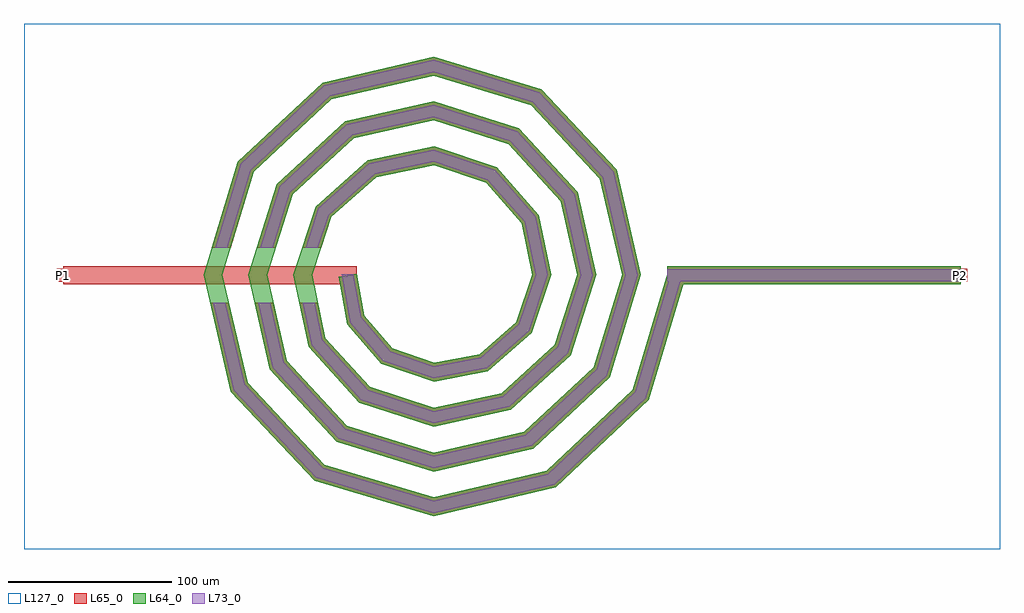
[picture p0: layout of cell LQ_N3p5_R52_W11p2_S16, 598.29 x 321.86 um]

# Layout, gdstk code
import gdstk
lib = gdstk.Library(unit=1e-6, precision=1e-09)
def R(c, l, rs):  # rectangles x0, y0, x1, y1
    for r in rs: c.add(gdstk.rectangle(r[:2], r[2:], *l))
def P(c, l, *ps):  # polygons
    for p in ps: c.add(gdstk.Polygon(p, *l))
L64_0 = (64, 0)
L65_0 = (65, 0)
L73_0 = (73, 0)
L127_0 = (127, 0)

lq_n3p5_r52_w11p2_s16 = lib.new_cell('LQ_N3p5_R52_W11p2_S16')
R(lq_n3p5_r52_w11p2_s16, L64_0, [(143.292,-5.6,323.292,5.6)])
P(lq_n3p5_r52_w11p2_s16, L64_0, [(-42.303,-24.945),(-25.325,-44.73),(0.416,-53.691),(28.339,-48.282),(50.661,-28.803),(60.567,0.373),(54.257,31.742),(32.273,56.597),(0.338,67.443),(-35.152,60.229),(-62.537,35.738),(-74.32,0.309),(-66.198,-38.567),(-39.199,-68.48),(0.285,-81.197),(41.985,-72.165),(74.425,-42.657),(88.075,0.264),(78.131,45.407),(46.112,80.371),(0.246,94.952),(-48.831,84.096),(-86.319,49.565),(-101.83,0.23),(-90.06,-52.256),(-53.016,-92.268),(0.217,-108.707),(55.684,-96.023),(98.218,-56.466),(115.585,0.204),(101.985,59.113),(59.915,104.169),(0.193,122.463),(-62.542,107.947),(-110.12,63.362),(-129.341,0.183),(-113.908,-65.973),(-66.809,-116.072),(0.175,-136.219),(69.405,-119.869),(122.025,-70.256),(143.527,1.605),(154.257,-1.605),(131.893,-76.344),(74.902,-130.078),(0.175,-147.809),(-72.912,-125.932),(-124.126,-71.456),(-140.931,0.183),(-119.971,69.481),(-68.008,118.174),(0.193,134.053),(66.05,114.009),(112.222,64.56),(127.174,0.204),(108.046,-62.621),(61.11,-106.271),(0.217,-120.295),(-59.193,-102.083),(-100.32,-57.66),(-113.417,0.23),(-96.119,55.766),(-54.207,94.371),(0.246,106.538),(52.341,90.153),(88.422,50.753),(99.659,0.264),(84.186,-48.918),(47.296,-82.475),(0.285,-92.78),(-45.497,-78.218),(-76.529,-43.837),(-85.901,0.309),(-72.247,42.08),(-40.373,70.585),(0.338,79.021),(38.666,66.274),(64.643,36.905),(72.141,0.373),(60.297,-35.259),(33.43,-58.704),(0.416,-65.261),(-31.858,-54.315),(-52.77,-29.946),(-58.105,-1.016),(-47.091,1.016)])
R(lq_n3p5_r52_w11p2_s16, L65_0, [(-226.998,-5.6,-46.998,5.6), (143.292,-5.6,323.292,5.6), (-230.998,-4,-222.998,4), (319.292,-4,327.292,4)])
P(lq_n3p5_r52_w11p2_s16, L65_0, [(-113.908,-65.973),(-66.809,-116.072),(0.175,-136.219),(69.405,-119.869),(122.025,-70.256),(143.527,1.605),(154.257,-1.605),(131.893,-76.344),(74.902,-130.078),(0.175,-147.809),(-72.912,-125.932),(-124.126,-71.456),(-136.947,-16.8),(-125.443,-16.8)],
  [(-90.06,-52.256),(-53.016,-92.268),(0.217,-108.707),(55.684,-96.023),(98.218,-56.466),(115.585,0.204),(101.985,59.113),(59.915,104.169),(0.193,122.463),(-62.542,107.947),(-110.12,63.363),(-124.204,16.8),(-135.905,16.8),(-119.971,69.481),(-68.008,118.174),(0.193,134.053),(66.05,114.009),(112.222,64.56),(127.174,0.204),(108.046,-62.621),(61.11,-106.271),(0.217,-120.296),(-59.193,-102.083),(-100.32,-57.66),(-109.564,-16.8),(-98.081,-16.8)],
  [(-66.198,-38.567),(-39.199,-68.48),(0.285,-81.197),(41.985,-72.165),(74.425,-42.657),(88.075,0.264),(78.131,45.407),(46.112,80.371),(0.246,94.952),(-48.831,84.096),(-86.319,49.565),(-96.525,16.8),(-108.256,16.8),(-96.119,55.766),(-54.207,94.371),(0.246,106.538),(52.341,90.153),(88.422,50.753),(99.659,0.264),(84.186,-48.918),(47.296,-82.475),(0.285,-92.78),(-45.497,-78.218),(-76.529,-43.837),(-82.269,-16.8),(-70.819,-16.8)],
  [(-25.325,-44.73),(0.416,-53.691),(28.339,-48.282),(50.661,-28.803),(60.567,0.373),(54.257,31.742),(32.273,56.597),(0.338,67.443),(-35.152,60.229),(-62.537,35.738),(-68.728,16.8),(-80.511,16.8),(-72.247,42.08),(-40.373,70.585),(0.338,79.022),(38.667,66.274),(64.643,36.905),(72.141,0.373),(60.297,-35.259),(33.43,-58.704),(0.416,-65.261),(-31.858,-54.315),(-52.77,-29.946),(-58.105,-1.016),(-47.091,1.016),(-42.303,-24.945)])
R(lq_n3p5_r52_w11p2_s16, L73_0, [(143.292,-3.6,323.292,3.6)])
P(lq_n3p5_r52_w11p2_s16, L73_0, [(-115.732,-66.952),(-67.899,-117.833),(0.112,-138.289),(70.386,-121.692),(123.787,-71.343),(145.443,1.032),(152.341,-1.032),(130.131,-75.257),(73.921,-128.255),(0.112,-145.74),(-71.822,-124.172),(-122.301,-70.477),(-134.893,-16.8),(-127.497,-16.8)],
  [(-91.892,-53.221),(-54.119,-94.021),(0.139,-110.777),(56.653,-97.853),(99.973,-57.565),(117.655,0.131),(103.813,60.085),(61.01,105.926),(0.124,124.533),(-63.518,109.773),(-111.879,64.455),(-126.294,16.8),(-133.816,16.8),(-118.212,68.388),(-67.032,116.347),(0.124,131.983),(64.955,112.252),(110.394,63.587),(125.105,0.131),(106.291,-61.522),(60.141,-104.441),(0.139,-118.226),(-58.09,-100.33),(-98.488,-56.695),(-107.514,-16.8),(-100.132,-16.8)],
  [(-68.043,-39.508),(-40.324,-70.219),(0.183,-83.266),(42.934,-74.006),(76.168,-43.775),(90.143,0.17),(79.969,46.361),(47.224,82.118),(0.158,97.021),(-49.791,85.931),(-88.069,50.672),(-98.62,16.8),(-106.161,16.8),(-94.369,54.659),(-53.247,92.536),(0.158,104.469),(51.228,88.406),(86.585,49.798),(97.591,0.17),(82.443,-47.8),(46.348,-80.634),(0.183,-90.712),(-44.372,-76.479),(-74.684,-42.896),(-80.224,-16.8),(-72.864,-16.8)],
  [(-26.492,-46.441),(0.268,-55.757),(29.248,-50.143),(52.382,-29.956),(62.634,0.24),(56.112,32.664),(33.415,58.325),(0.218,69.511),(-36.084,62.078),(-64.271,36.871),(-70.832,16.8),(-78.407,16.8),(-70.513,40.947),(-39.441,68.735),(0.218,76.954),(37.525,64.546),(62.788,35.983),(70.075,0.24),(58.576,-34.106),(32.521,-56.843),(0.268,-63.195),(-30.692,-52.603),(-50.901,-29.053),(-56.138,0.653),(-49.058,0.653),(-44.172,-25.838)])
R(lq_n3p5_r52_w11p2_s16, L127_0, [(-250.998,-167.809,347.292,154.053)])
lq_n3p5_r52_w11p2_s16.add(gdstk.Label('P2', (323.292,0), layer=65, texttype=0))
lq_n3p5_r52_w11p2_s16.add(gdstk.Label('P1', (-226.998,0), layer=65, texttype=0))
lq_n3p5_r52_w11p2_s16.add(gdstk.Label('P2', (327.292,0), layer=145, texttype=0))
lq_n3p5_r52_w11p2_s16.add(gdstk.Label('P1', (-230.998,0), layer=145, texttype=0))

lib.write_gds('LQ_N3p5_R52_W11p2_S16.gds')
